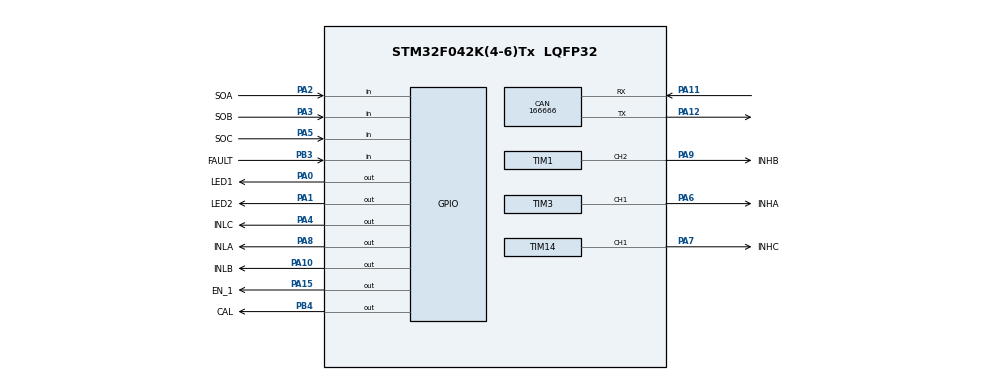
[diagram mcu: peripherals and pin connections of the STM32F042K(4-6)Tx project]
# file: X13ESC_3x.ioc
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Mcu.Family=STM32F0
NVIC.TIM14_IRQn=true\:0\:0\:false\:false\:true\:true\:true
TIM14.AutoReloadPreload=TIM_AUTORELOAD_PRELOAD_ENABLE
CAN.CalculateBaudRate=166666
PA9.GPIO_Label=INHB
PA0.GPIO_Label=LED1
PA11.Mode=CAN_Activate
PA6.GPIO_Label=INHA
CAN.CalculateTimeBit=6000.00
ProjectManager.StackSize=0x400
PA13.Signal=SYS_SWDIO
PA15.GPIO_Label=EN_1
PA12.Signal=CAN_TX
PA8.GPIO_Label=INLA
ProjectManager.TargetToolchain=STM32CubeIDE
SH.S_TIM14_CH1.0=TIM14_CH1,PWM Generation1 CH1
PA9.Signal=S_TIM1_CH2
TIM1.Channel-PWM\ Generation2\ CH2=TIM_CHANNEL_2
PA1.Signal=GPIO_Output
TIM3.Channel-PWM\ Generation1\ CH1=TIM_CHANNEL_1
PA5.Signal=GPIO_Input
board=custom
TIM14.Period=65535
TIM14.Channel=TIM_CHANNEL_1
PB4.GPIO_Label=CAL
SH.S_TIM1_CH2.0=TIM1_CH2,PWM Generation2 CH2
PA14.Mode=Serial_Wire
PA1.GPIO_Label=LED2
PA10.GPIO_Label=INLB
PA8.Signal=GPIO_Output
SH.S_TIM3_CH1.0=TIM3_CH1,PWM Generation1 CH1
PA13.Mode=Serial_Wire
Mcu.Name=STM32F042K(4-6)Tx
CAN.CalculateTimeQuantum=2000.0
TIM14.Prescaler=8000 - 1
PA2.Signal=GPIO_Input
PA0.Signal=GPIO_Output
PB3.Signal=GPIO_Input
PA4.Signal=GPIO_Output
Mcu.Package=LQFP32
PA6.Signal=S_TIM3_CH1
PA7.GPIO_Label=INHC
PA12.Mode=CAN_Activate
PA5.GPIO_Label=SOC
PA2.GPIO_Label=SOA
PA11.Signal=CAN_RX
PA10.Signal=GPIO_Output
PA14.Signal=SYS_SWCLK
PA15.Signal=GPIO_Output
ProjectManager.HeapSize=0x200
VP_TIM14_VS_ClockSourceINT.Mode=Enable_Timer
PA4.GPIO_Label=INLC
PB4.Signal=GPIO_Output
PA3.GPIO_Label=SOB
PA3.Signal=GPIO_Input
PA7.Signal=S_TIM14_CH1
PB3.GPIO_Label=FAULT

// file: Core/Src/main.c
/* USER CODE BEGIN Header */
/**
  ******************************************************************************
  * @file           : main.c
  * @brief          : Main program body
  ******************************************************************************
  * @attention
  *
  * <h2><center>&copy; Copyright (c) 2021 STMicroelectronics.
  * All rights reserved.</center></h2>
  *
  * This software component is licensed by ST under BSD 3-Clause license,
  * the "License"; You may not use this file except in compliance with the
  * License. You may obtain a copy of the License at:
  *                        opensource.org/licenses/BSD-3-Clause
  *
  ******************************************************************************
  */
/* USER CODE END Header */
#include "main.h"

/* USER CODE BEGIN Includes */

#include "canFilterBankConfig.h"

#pragma GCC diagnostic warning "-Wunused-macros"
#pragma GCC diagnostic warning "-Wunused-parameter"
#pragma GCC diagnostic warning "-Wsign-compare"
#pragma GCC diagnostic warning "-Wconversion"
#pragma GCC diagnostic warning "-Wredundant-decls"
#pragma GCC diagnostic warning "-Wswitch-default"
#pragma GCC diagnostic warning "-Wswitch-enum"

/* USER CODE END Includes */

/* USER CODE BEGIN PD */

#define NUM_ADC_INIT_WAIT_MS 500

/*
 * The resistor voltage divisions for the CAN ID have a pull up on the ESC controller board
 * where this micro is. The pull down is on the backplane. ID 206 will be used if the board
 * is unconnected, resulting in ADC value of VCC (4095). The other voltage divisions are
 * designed to be at 0.3, 0.5, and 0.7 VCC. So the "bins" for them will be 0.2 to 0.4 are 0.3
 * or ID 201, 0.4 to 0.6 are 0.5 or ID 202, and 0.6 to 0.8 are 0.7 or ID 203.
 */

#define ADC_MAX_VALUE (4095)
#define CAN_ID_201_LOW_THRESHOLD (ADC_MAX_VALUE / 5)
#define CAN_ID_202_LOW_THRESHOLD (ADC_MAX_VALUE / 5 * 2)
#define CAN_ID_203_LOW_THRESHOLD (ADC_MAX_VALUE / 5 * 3)
#define CAN_ID_206_LOW_THRESHOLD (ADC_MAX_VALUE / 5 * 4)
#define CAN_ID_201_HIGH_THRESHOLD (CAN_ID_202_LOW_THRESHOLD - 1)
#define CAN_ID_202_HIGH_THRESHOLD (CAN_ID_203_LOW_THRESHOLD - 1)
#define CAN_ID_203_HIGH_THRESHOLD (CAN_ID_206_LOW_THRESHOLD - 1)
#define CAN_ID_206_HIGH_THRESHOLD ADC_MAX_VALUE

#define CAN_ID_201_FLASH_MS 1000
#define CAN_ID_202_FLASH_MS 500
#define CAN_ID_203_FLASH_MS 250
#define CAN_ID_206_FLASH_MS 2000
#define ERROR_FLASH_MS 4000

/* USER CODE END PD */

CAN_HandleTypeDef hcan;

TIM_HandleTypeDef htim1;
TIM_HandleTypeDef htim3;
TIM_HandleTypeDef htim14;

/* USER CODE BEGIN PV */

uint8_t adcConfigured = 0;

/* USER CODE END PV */

void SystemClock_Config(void);
static void MX_GPIO_Init(void);
static void MX_CAN_Init(void);
static void MX_TIM14_Init(void);
static void MX_TIM1_Init(void);
static void MX_TIM3_Init(void);
/* USER CODE BEGIN PFP */

void CAN_ConfigureFilterForThrusterOperation(uint32_t canId);

//  Interrupt Callback Functions
void CAN_FIFO0_RXMessagePendingCallback(CAN_HandleTypeDef *_hcan);
void ADC_ConversionCompleteCallback(ADC_HandleTypeDef *_hadc);
void TIM14_TimeElapsedCallback(TIM_HandleTypeDef *_htim);

/* USER CODE END PFP */

int main(void)
{

  /* MCU Configuration--------------------------------------------------------*/

  /* Reset of all peripherals, Initializes the Flash interface and the Systick. */
  HAL_Init();

  /* Configure the system clock */
  SystemClock_Config();

  /* Initialize all configured peripherals */
  MX_GPIO_Init();
  MX_CAN_Init();
  MX_TIM14_Init();
  MX_TIM1_Init();
  MX_TIM3_Init();
  /* USER CODE BEGIN 2 */

  // HAL_TIM_Base_Start_IT(&htim14);
  // HAL_GPIO_WritePin(GPIOB, GPIO_PIN_3, GPIO_PIN_SET);

  HAL_GPIO_WritePin(GPIOA, GPIO_PIN_4 | GPIO_PIN_8 | GPIO_PIN_10, GPIO_PIN_SET); //Set INLA, INLB, INLC to logic high (disable hi-z mode)
  HAL_GPIO_WritePin(GPIOB, GPIO_PIN_3, GPIO_PIN_SET); //Set EN_1 (enable driver)

  HAL_CAN_Start(&hcan);

  /* USER CODE END 2 */

  /* Infinite loop */
  while (1)
  {

  }
}

void SystemClock_Config(void)
{
  RCC_OscInitTypeDef RCC_OscInitStruct = {0};
  RCC_ClkInitTypeDef RCC_ClkInitStruct = {0};

  /** Initializes the RCC Oscillators according to the specified parameters
  * in the RCC_OscInitTypeDef structure.
  */
  RCC_OscInitStruct.OscillatorType = RCC_OSCILLATORTYPE_HSI;
  RCC_OscInitStruct.HSIState = RCC_HSI_ON;
  RCC_OscInitStruct.HSICalibrationValue = RCC_HSICALIBRATION_DEFAULT;
  RCC_OscInitStruct.PLL.PLLState = RCC_PLL_NONE;
  if (HAL_RCC_OscConfig(&RCC_OscInitStruct) != HAL_OK)
  {
    Error_Handler();
  }
  /** Initializes the CPU, AHB and APB buses clocks
  */
  RCC_ClkInitStruct.ClockType = RCC_CLOCKTYPE_HCLK|RCC_CLOCKTYPE_SYSCLK
                              |RCC_CLOCKTYPE_PCLK1;
  RCC_ClkInitStruct.SYSCLKSource = RCC_SYSCLKSOURCE_HSI;
  RCC_ClkInitStruct.AHBCLKDivider = RCC_SYSCLK_DIV1;
  RCC_ClkInitStruct.APB1CLKDivider = RCC_HCLK_DIV1;

  if (HAL_RCC_ClockConfig(&RCC_ClkInitStruct, FLASH_LATENCY_0) != HAL_OK)
  {
    Error_Handler();
  }
}

static void MX_CAN_Init(void)
{

  /* USER CODE BEGIN CAN_Init 1 */

  //  125kbps baud rate is configured
  //  HAL_CAN_Init() enters and stays in Initialization Mode
  /* USER CODE END CAN_Init 1 */
  hcan.Instance = CAN;
  hcan.Init.Prescaler = 16;
  hcan.Init.Mode = CAN_MODE_NORMAL;
  hcan.Init.SyncJumpWidth = CAN_SJW_1TQ;
  hcan.Init.TimeSeg1 = CAN_BS1_1TQ;
  hcan.Init.TimeSeg2 = CAN_BS2_1TQ;
  hcan.Init.TimeTriggeredMode = DISABLE;
  hcan.Init.AutoBusOff = DISABLE;
  hcan.Init.AutoWakeUp = DISABLE;
  hcan.Init.AutoRetransmission = DISABLE;
  hcan.Init.ReceiveFifoLocked = DISABLE;
  hcan.Init.TransmitFifoPriority = DISABLE;
  if (HAL_CAN_Init(&hcan) != HAL_OK)
  {
    Error_Handler();
  }
  /* USER CODE BEGIN CAN_Init 2 */

  //  Enable FIFO0 Message Pending Interrupt
  HAL_CAN_ActivateNotification(&hcan, CAN_IT_RX_FIFO0_MSG_PENDING);

  //  Configure CAN Interrupt Callbacks
  HAL_CAN_RegisterCallback(&hcan, HAL_CAN_RX_FIFO0_MSG_PENDING_CB_ID, CAN_FIFO0_RXMessagePendingCallback);

  CAN_ConfigureFilterForThrusterOperation(0x201);

  /* USER CODE END CAN_Init 2 */

}

static void MX_TIM1_Init(void)
{

  TIM_MasterConfigTypeDef sMasterConfig = {0};
  TIM_OC_InitTypeDef sConfigOC = {0};
  TIM_BreakDeadTimeConfigTypeDef sBreakDeadTimeConfig = {0};

  htim1.Instance = TIM1;
  htim1.Init.Prescaler = 0;
  htim1.Init.CounterMode = TIM_COUNTERMODE_UP;
  htim1.Init.Period = 65535;
  htim1.Init.ClockDivision = TIM_CLOCKDIVISION_DIV1;
  htim1.Init.RepetitionCounter = 0;
  htim1.Init.AutoReloadPreload = TIM_AUTORELOAD_PRELOAD_DISABLE;
  if (HAL_TIM_PWM_Init(&htim1) != HAL_OK)
  {
    Error_Handler();
  }
  sMasterConfig.MasterOutputTrigger = TIM_TRGO_RESET;
  sMasterConfig.MasterSlaveMode = TIM_MASTERSLAVEMODE_DISABLE;
  if (HAL_TIMEx_MasterConfigSynchronization(&htim1, &sMasterConfig) != HAL_OK)
  {
    Error_Handler();
  }
  sConfigOC.OCMode = TIM_OCMODE_PWM1;
  sConfigOC.Pulse = 0;
  sConfigOC.OCPolarity = TIM_OCPOLARITY_HIGH;
  sConfigOC.OCNPolarity = TIM_OCNPOLARITY_HIGH;
  sConfigOC.OCFastMode = TIM_OCFAST_DISABLE;
  sConfigOC.OCIdleState = TIM_OCIDLESTATE_RESET;
  sConfigOC.OCNIdleState = TIM_OCNIDLESTATE_RESET;
  if (HAL_TIM_PWM_ConfigChannel(&htim1, &sConfigOC, TIM_CHANNEL_2) != HAL_OK)
  {
    Error_Handler();
  }
  sBreakDeadTimeConfig.OffStateRunMode = TIM_OSSR_DISABLE;
  sBreakDeadTimeConfig.OffStateIDLEMode = TIM_OSSI_DISABLE;
  sBreakDeadTimeConfig.LockLevel = TIM_LOCKLEVEL_OFF;
  sBreakDeadTimeConfig.DeadTime = 0;
  sBreakDeadTimeConfig.BreakState = TIM_BREAK_DISABLE;
  sBreakDeadTimeConfig.BreakPolarity = TIM_BREAKPOLARITY_HIGH;
  sBreakDeadTimeConfig.AutomaticOutput = TIM_AUTOMATICOUTPUT_DISABLE;
  if (HAL_TIMEx_ConfigBreakDeadTime(&htim1, &sBreakDeadTimeConfig) != HAL_OK)
  {
    Error_Handler();
  }
  HAL_TIM_MspPostInit(&htim1);

}

static void MX_TIM3_Init(void)
{

  TIM_MasterConfigTypeDef sMasterConfig = {0};
  TIM_OC_InitTypeDef sConfigOC = {0};

  htim3.Instance = TIM3;
  htim3.Init.Prescaler = 0;
  htim3.Init.CounterMode = TIM_COUNTERMODE_UP;
  htim3.Init.Period = 65535;
  htim3.Init.ClockDivision = TIM_CLOCKDIVISION_DIV1;
  htim3.Init.AutoReloadPreload = TIM_AUTORELOAD_PRELOAD_DISABLE;
  if (HAL_TIM_PWM_Init(&htim3) != HAL_OK)
  {
    Error_Handler();
  }
  sMasterConfig.MasterOutputTrigger = TIM_TRGO_RESET;
  sMasterConfig.MasterSlaveMode = TIM_MASTERSLAVEMODE_DISABLE;
  if (HAL_TIMEx_MasterConfigSynchronization(&htim3, &sMasterConfig) != HAL_OK)
  {
    Error_Handler();
  }
  sConfigOC.OCMode = TIM_OCMODE_PWM1;
  sConfigOC.Pulse = 0;
  sConfigOC.OCPolarity = TIM_OCPOLARITY_HIGH;
  sConfigOC.OCFastMode = TIM_OCFAST_DISABLE;
  if (HAL_TIM_PWM_ConfigChannel(&htim3, &sConfigOC, TIM_CHANNEL_1) != HAL_OK)
  {
    Error_Handler();
  }
  HAL_TIM_MspPostInit(&htim3);

}

static void MX_TIM14_Init(void)
{

  TIM_OC_InitTypeDef sConfigOC = {0};

  htim14.Instance = TIM14;
  htim14.Init.Prescaler = 8000 - 1;
  htim14.Init.CounterMode = TIM_COUNTERMODE_UP;
  htim14.Init.Period = 65535;
  htim14.Init.ClockDivision = TIM_CLOCKDIVISION_DIV1;
  htim14.Init.AutoReloadPreload = TIM_AUTORELOAD_PRELOAD_ENABLE;
  if (HAL_TIM_Base_Init(&htim14) != HAL_OK)
  {
    Error_Handler();
  }
  if (HAL_TIM_PWM_Init(&htim14) != HAL_OK)
  {
    Error_Handler();
  }
  sConfigOC.OCMode = TIM_OCMODE_PWM1;
  sConfigOC.Pulse = 0;
  sConfigOC.OCPolarity = TIM_OCPOLARITY_HIGH;
  sConfigOC.OCFastMode = TIM_OCFAST_DISABLE;
  if (HAL_TIM_PWM_ConfigChannel(&htim14, &sConfigOC, TIM_CHANNEL_1) != HAL_OK)
  {
    Error_Handler();
  }
  /* USER CODE BEGIN TIM14_Init 2 */

  //  Reconfigure Timer ARR to count up to NUM_ADC_INIT_WAIT_MS ms until ADC conversion start
  htim14.Init.Period = NUM_ADC_INIT_WAIT_MS - 1;
  htim14.Instance->ARR = htim14.Init.Period;

  //  Configure Timer Interrupt Callback
  HAL_TIM_RegisterCallback(&htim14, HAL_TIM_PERIOD_ELAPSED_CB_ID, TIM14_TimeElapsedCallback);

  /* USER CODE END TIM14_Init 2 */
  HAL_TIM_MspPostInit(&htim14);

}

static void MX_GPIO_Init(void)
{
  GPIO_InitTypeDef GPIO_InitStruct = {0};

  /* GPIO Ports Clock Enable */
  __HAL_RCC_GPIOA_CLK_ENABLE();
  __HAL_RCC_GPIOB_CLK_ENABLE();

  /*Configure GPIO pin Output Level */
  HAL_GPIO_WritePin(GPIOA, LED1_Pin|LED2_Pin|INLC_Pin|INLA_Pin
                          |INLB_Pin|EN_1_Pin, GPIO_PIN_RESET);

  /*Configure GPIO pin Output Level */
  HAL_GPIO_WritePin(CAL_GPIO_Port, CAL_Pin, GPIO_PIN_RESET);

  /*Configure GPIO pins : LED1_Pin LED2_Pin INLC_Pin INLA_Pin
                           INLB_Pin EN_1_Pin */
  GPIO_InitStruct.Pin = LED1_Pin|LED2_Pin|INLC_Pin|INLA_Pin
                          |INLB_Pin|EN_1_Pin;
  GPIO_InitStruct.Mode = GPIO_MODE_OUTPUT_PP;
  GPIO_InitStruct.Pull = GPIO_NOPULL;
  GPIO_InitStruct.Speed = GPIO_SPEED_FREQ_LOW;
  HAL_GPIO_Init(GPIOA, &GPIO_InitStruct);

  /*Configure GPIO pins : SOA_Pin SOB_Pin SOC_Pin */
  GPIO_InitStruct.Pin = SOA_Pin|SOB_Pin|SOC_Pin;
  GPIO_InitStruct.Mode = GPIO_MODE_INPUT;
  GPIO_InitStruct.Pull = GPIO_NOPULL;
  HAL_GPIO_Init(GPIOA, &GPIO_InitStruct);

  /*Configure GPIO pin : FAULT_Pin */
  GPIO_InitStruct.Pin = FAULT_Pin;
  GPIO_InitStruct.Mode = GPIO_MODE_INPUT;
  GPIO_InitStruct.Pull = GPIO_NOPULL;
  HAL_GPIO_Init(FAULT_GPIO_Port, &GPIO_InitStruct);

  /*Configure GPIO pin : CAL_Pin */
  GPIO_InitStruct.Pin = CAL_Pin;
  GPIO_InitStruct.Mode = GPIO_MODE_OUTPUT_PP;
  GPIO_InitStruct.Pull = GPIO_NOPULL;
  GPIO_InitStruct.Speed = GPIO_SPEED_FREQ_LOW;
  HAL_GPIO_Init(CAL_GPIO_Port, &GPIO_InitStruct);

}

/* USER CODE BEGIN 4 */

void CAN_ConfigureFilterForThrusterOperation(uint32_t canId)
{
	CAN_FilterTypeDef thrusterOperationFilter;
	CAN_FilterBank canFilterBank;
	CAN_FilterIDMaskConfig canFilterId;
	CAN_FilterIDMaskConfig canFilterMask;

	//  Configure Filter Bank Parameters except ID and Mask
	thrusterOperationFilter.FilterFIFOAssignment = CAN_FILTER_FIFO0;
	thrusterOperationFilter.FilterBank = 0;
	thrusterOperationFilter.FilterMode = CAN_FILTERMODE_IDMASK;
	thrusterOperationFilter.FilterScale = CAN_FILTERSCALE_32BIT;
	thrusterOperationFilter.FilterActivation = CAN_FILTER_ENABLE;

	//  Configure only ID and Mask Filter Bank Parameters
	canFilterBank.filterMode = CANIDFilterMode_32BitMask;

	canFilterId.stdId = canId;
	canFilterId.extId = 0;
	canFilterId.ide = CAN_IDE_CLEAR;
	canFilterId.rtr = CAN_RTR_CLEAR;

	canFilterMask.stdId = 0x7FF;
	canFilterMask.extId = 0;
	canFilterMask.ide = CAN_IDE_CLEAR;
	canFilterMask.rtr = CAN_RTR_CLEAR;

	canFilterBank.id1 = &canFilterId;
	canFilterBank.mask1 = &canFilterMask;

	CAN_ConfigureFilterBank(&thrusterOperationFilter, &canFilterBank);
	HAL_CAN_ConfigFilter(&hcan, &thrusterOperationFilter);
}

//  Handles ONLY the Reception of Thruster Operation CAN Packets
void CAN_FIFO0_RXMessagePendingCallback(CAN_HandleTypeDef *_hcan)
{
	uint8_t data[4];

	data[0] = (uint8_t)((CAN_RDL0R_DATA0 & _hcan->Instance->sFIFOMailBox[0].RDLR) >> CAN_RDL0R_DATA0_Pos);
	data[1] = (uint8_t)((CAN_RDL0R_DATA1 & _hcan->Instance->sFIFOMailBox[0].RDLR) >> CAN_RDL0R_DATA1_Pos);
	data[2] = (uint8_t)((CAN_RDL0R_DATA2 & _hcan->Instance->sFIFOMailBox[0].RDLR) >> CAN_RDL0R_DATA2_Pos);
	data[3] = (uint8_t)((CAN_RDL0R_DATA3 & _hcan->Instance->sFIFOMailBox[0].RDLR) >> CAN_RDL0R_DATA3_Pos);

	/*
	 * Use Data to set TIM->CCR registers for PWM generation
	 */

	HAL_GPIO_WritePin(GPIOA, GPIO_PIN_15, GPIO_PIN_SET);
	// HAL_GPIO_TogglePin(GPIOA, GPIO_PIN_15);

	//  Release Output Mailbox
	SET_BIT(_hcan->Instance->RF0R, CAN_RF0R_RFOM0);
}

void ADC_ConversionCompleteCallback(ADC_HandleTypeDef *_hadc)
{
	uint32_t adcValue = HAL_ADC_GetValue(_hadc);
	uint32_t canId;

	if (CAN_ID_201_LOW_THRESHOLD <= adcValue && adcValue <= CAN_ID_201_HIGH_THRESHOLD)
	{
		canId = 0x201;
		htim14.Init.Period = CAN_ID_201_FLASH_MS - 1;
	}
	else if (CAN_ID_202_LOW_THRESHOLD <= adcValue && adcValue <= CAN_ID_202_HIGH_THRESHOLD)
	{
		canId = 0x202;
		htim14.Init.Period = CAN_ID_202_FLASH_MS - 1;
	}
	else if (CAN_ID_203_LOW_THRESHOLD <= adcValue && adcValue <= CAN_ID_203_HIGH_THRESHOLD)
	{
		canId = 0x203;
		htim14.Init.Period = CAN_ID_203_FLASH_MS - 1;
	}
	else if (CAN_ID_206_LOW_THRESHOLD <= adcValue && adcValue <= CAN_ID_206_HIGH_THRESHOLD)
	{
		canId = 0x206;
		htim14.Init.Period = CAN_ID_206_FLASH_MS - 1;
	}
	else
	{
		htim14.Init.Period = ERROR_FLASH_MS - 1;
	}

	HAL_ADC_Stop_IT(_hadc);

	//  Configure CAN Filter for Thrusters and
	CAN_ConfigureFilterForThrusterOperation(canId);
	HAL_CAN_Start(&hcan);  //  Enters Normal Operating Mode

	//  Restart TIM14 to flash PA15 LED
	htim14.Instance->ARR = htim14.Init.Period;
	HAL_TIM_Base_Start_IT(&htim14);
}

void TIM14_TimeElapsedCallback(TIM_HandleTypeDef *_htim)
{
	if (!adcConfigured)
	{
		HAL_TIM_Base_Stop_IT(_htim);
		HAL_ADC_Start_IT(&hadc);
		adcConfigured = 1;
	}
	else
	{
		HAL_GPIO_TogglePin(GPIOA, GPIO_PIN_15);
	}
}

/* USER CODE END 4 */

void Error_Handler(void)
{
}

/************************ (C) COPYRIGHT STMicroelectronics *****END OF FILE****/
